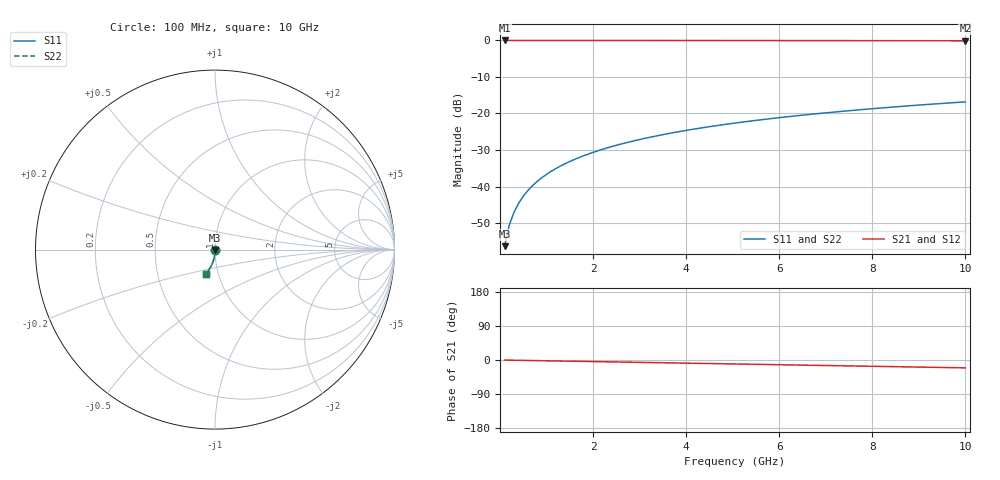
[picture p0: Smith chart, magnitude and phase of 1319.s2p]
# Hz S RI R 50.00
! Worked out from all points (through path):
!   100 points, 100 MHz to 10 GHz, reference 50 ohm
!   highest |S21| = 0.00 dB at 100 MHz (marker M1); lowest = -0.1 dB at 10 GHz (marker M2)
!   group delay of S21, straight-line fit = 5.77 ps
!   lowest |S11| = -56.3 dB at 100 MHz (marker M3), VSWR 1.00, Z = 50 - j0.147 ohm
!   |S11| at or under -10 dB: start of sweep to end of sweep
!   |S22| runs from -56.3 to -16.8 dB; largest |S21 - S12| = 0
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1e8  0.000415 -0.00147  0.9996 -0.00361  0.9996 -0.00361  0.000415 -0.00147
2e8  0.000399 -0.00294  0.9995 -0.00722  0.9995 -0.00722  0.000399 -0.00294
3e8  0.000373 -0.0044  0.9995 -0.0108  0.9995 -0.0108  0.000373 -0.0044
4e8  0.000335 -0.00587  0.9994 -0.0144  0.9994 -0.0144  0.000335 -0.00587
5e8  0.000286 -0.00734  0.9994 -0.0181  0.9994 -0.0181  0.000286 -0.00734
6e8  0.000227 -0.0088  0.9993 -0.0217  0.9993 -0.0217  0.000227 -0.0088
7e8  0.000157 -0.0103  0.9992 -0.0253  0.9992 -0.0253  0.000157 -0.0103
8e8  7.59e-05 -0.0117  0.9991 -0.0289  0.9991 -0.0289  7.59e-05 -0.0117
9e8  -1.56e-05 -0.0132  0.9989 -0.0325  0.9989 -0.0325  -1.56e-05 -0.0132
1.1e9  -0.000231 -0.0161  0.9986 -0.0397  0.9986 -0.0397  -0.000231 -0.0161
1.4e9  -0.000633 -0.0205  0.998 -0.0505  0.998 -0.0505  -0.000633 -0.0205
1.8e9  -0.00132 -0.0264  0.997 -0.065  0.997 -0.065  -0.00132 -0.0264
2.1e9  -0.00194 -0.0307  0.9961 -0.0758  0.9961 -0.0758  -0.00194 -0.0307
2.5e9  -0.00292 -0.0365  0.9947 -0.0902  0.9947 -0.0902  -0.00292 -0.0365
2.9e9  -0.00407 -0.0423  0.9931 -0.1045  0.9931 -0.1045  -0.00407 -0.0423
3.4e9  -0.00575 -0.0495  0.9907 -0.1225  0.9907 -0.1225  -0.00575 -0.0495
4.2e9  -0.00897 -0.0609  0.986 -0.1511  0.986 -0.1511  -0.00897 -0.0609
5.1e9  -0.0134 -0.0734  0.9797 -0.183  0.9797 -0.183  -0.0134 -0.0734
5.9e9  -0.018 -0.0843  0.973 -0.2112  0.973 -0.2112  -0.018 -0.0843
6.7e9  -0.0232 -0.0949  0.9654 -0.2391  0.9654 -0.2391  -0.0232 -0.0949
8.4e9  -0.0363 -0.1163  0.9462 -0.2973  0.9462 -0.2973  -0.0363 -0.1163
1e10  -0.0508 -0.1348  0.9246 -0.3506  0.9246 -0.3506  -0.0508 -0.1348
